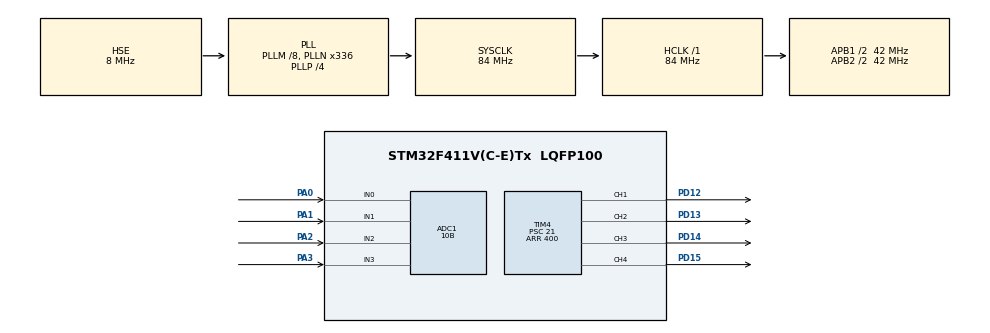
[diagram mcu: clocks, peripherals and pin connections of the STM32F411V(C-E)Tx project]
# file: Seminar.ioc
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Mcu.Family=STM32F4
RCC.PLLSourceVirtual=RCC_PLLSOURCE_HSE
TIM4.Channel-PWM\ Generation1\ CH1=TIM_CHANNEL_1
RCC.CortexFreq_Value=84000000
ADC1.Rank-0\#ChannelRegularConversion=1
ADC1.ContinuousConvMode=ENABLE
SH.S_TIM4_CH4.0=TIM4_CH4,PWM Generation4 CH4
SH.ADCx_IN2.0=ADC1_IN2,IN2
PH1\ -\ OSC_OUT.Mode=HSE-External-Oscillator
RCC.APB1CLKDivider=RCC_HCLK_DIV2
RCC.SYSCLKSource=RCC_SYSCLKSOURCE_PLLCLK
ProjectManager.StackSize=0x400
PA0-WKUP.Signal=ADCx_IN0
PD13.Signal=S_TIM4_CH2
NVIC.ADC_IRQn=true\:0\:0\:false\:false\:true\:true\:true
PH0\ -\ OSC_IN.Mode=HSE-External-Oscillator
PH0\ -\ OSC_IN.Signal=RCC_OSC_IN
ProjectManager.TargetToolchain=STM32CubeIDE
SH.S_TIM4_CH3.0=TIM4_CH3,PWM Generation3 CH3
RCC.HCLKFreq_Value=84000000
SH.ADCx_IN3.0=ADC1_IN3,IN3
ADC1.Resolution=ADC_RESOLUTION_10B
RCC.APB2TimFreq_Value=84000000
TIM4.Prescaler=21
RCC.LSE_VALUE=32768
PA1.Signal=ADCx_IN1
RCC.AHBFreq_Value=84000000
ADC1.Channel-0\#ChannelRegularConversion=ADC_CHANNEL_0
RCC.HSE_VALUE=8000000
TIM4.Channel-PWM\ Generation3\ CH3=TIM_CHANNEL_3
PH1\ -\ OSC_OUT.Signal=RCC_OSC_OUT
ADC1.ScanConvMode=ENABLE
board=custom
RCC.VCOOutputFreq_Value=336000000
TIM4.Channel-PWM\ Generation2\ CH2=TIM_CHANNEL_2
RCC.APB2Freq_Value=42000000
SH.S_TIM4_CH2.0=TIM4_CH2,PWM Generation2 CH2
SH.ADCx_IN0.0=ADC1_IN0,IN0
TIM4.Period=400
Mcu.Name=STM32F411V(C-E)Tx
ADC1.SamplingTime-0\#ChannelRegularConversion=ADC_SAMPLETIME_84CYCLES
PA2.Signal=ADCx_IN2
PD14.Signal=S_TIM4_CH3
RCC.48MHZClocksFreq_Value=84000000
RCC.SYSCLKFreq_VALUE=84000000
Mcu.Package=LQFP100
ADC1.master=1
PD12.Signal=S_TIM4_CH1
ProjectManager.HeapSize=0x200
RCC.HSI_VALUE=16000000
VP_TIM4_VS_ClockSourceINT.Mode=Internal
RCC.PLLP=RCC_PLLP_DIV4
NVIC.PriorityGroup=NVIC_PRIORITYGROUP_4
ADC1.NbrOfConversionFlag=1
RCC.APB2CLKDivider=RCC_HCLK_DIV2
SH.ADCx_IN1.0=ADC1_IN1,IN1
RCC.PLLM=8
RCC.PLLN=336
SH.S_TIM4_CH1.0=TIM4_CH1,PWM Generation1 CH1
RCC.APB1TimFreq_Value=84000000
TIM4.Channel-PWM\ Generation4\ CH4=TIM_CHANNEL_4
RCC.APB1Freq_Value=42000000
PD15.Signal=S_TIM4_CH4
PA3.Signal=ADCx_IN3

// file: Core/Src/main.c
/* USER CODE BEGIN Header */
/**
  ******************************************************************************
  * @file           : main.c
  * @brief          : Main program body
  ******************************************************************************
  * @attention
  *
  * <h2><center>&copy; Copyright (c) 2021 STMicroelectronics.
  * All rights reserved.</center></h2>
  *
  * This software component is licensed by ST under BSD 3-Clause license,
  * the "License"; You may not use this file except in compliance with the
  * License. You may obtain a copy of the License at:
  *                        opensource.org/licenses/BSD-3-Clause
  *
  ******************************************************************************
  */
/* USER CODE END Header */
#include "main.h"

ADC_HandleTypeDef hadc1;

TIM_HandleTypeDef htim4;

void SystemClock_Config(void);
static void MX_GPIO_Init(void);
static void MX_ADC1_Init(void);
static void MX_TIM4_Init(void);
static void ADC_Select_CH0(void);
static void ADC_Select_CH1(void);
static void ADC_Select_CH2(void);
static void ADC_Select_CH3(void);

/* USER CODE BEGIN 0 */
uint16_t duty[4] = {0, 0, 0, 0};
// Khai bao cho bo PID
uint16_t adc_pre[4] = {0, 0, 0, 0};
uint16_t adc_value[4] = {0, 0, 0, 0};
uint16_t adc_out[4] = {0, 0, 0, 0};
uint16_t E[4] = {0, 0, 0, 0};
uint16_t E1[4] = {0, 0, 0, 0};
uint16_t E2[4] = {0, 0, 0, 0};
uint16_t setpoint = 0; // don vi la ADC
double Kp, Ki, Kd;
double alphaG, betaG, gammaG;
double T = 0.0001;

void Read_ADC(){
	ADC_Select_CH0();
	HAL_ADC_Start(&hadc1);
	HAL_ADC_PollForConversion(&hadc1, 1000);
	adc_value[0] = HAL_ADC_GetValue(&hadc1);
	HAL_ADC_Stop(&hadc1);
	HAL_Delay(10);
	ADC_Select_CH1();
	HAL_ADC_Start(&hadc1);
	HAL_ADC_PollForConversion(&hadc1, 1000);
	adc_value[1] = HAL_ADC_GetValue(&hadc1);
	HAL_ADC_Stop(&hadc1);
	HAL_Delay(10);
	ADC_Select_CH2();
	HAL_ADC_Start(&hadc1);
	HAL_ADC_PollForConversion(&hadc1, 1000);
	adc_value[1] = HAL_ADC_GetValue(&hadc1);
	HAL_ADC_Stop(&hadc1);
	HAL_Delay(10);
	ADC_Select_CH3();
	HAL_ADC_Start(&hadc1);
	HAL_ADC_PollForConversion(&hadc1, 1000);
	adc_value[1] = HAL_ADC_GetValue(&hadc1);
	HAL_ADC_Stop(&hadc1);
	HAL_Delay(10);
}

void PID(){
	for(int i = 0; i < 4; i ++){
		E[i] = setpoint - adc_value[i];
		alphaG = 2*T*Kp + Ki*T*T + 2*Kd;
		betaG = T*T*Ki - 4*Kd - 2*T*Kp;
		gammaG = 2*Kd;
		adc_out[i] = (alphaG*E[i] + betaG*E1[i] + gammaG*E2[i] + 2*T*adc_pre[i])/(2*T);
		adc_pre[i] = adc_out[i];
		E2[i] = E1[i];
		E1[i] = E[i];
	}
}

void change(){
	for (int i = 0; i < 4; i ++){
		duty[i] = adc_out[i] / 1024 * 100;
	}
}

void Led(){
	__HAL_TIM_SET_COMPARE(&htim4, TIM_CHANNEL_1, duty[0]);
	__HAL_TIM_SET_COMPARE(&htim4, TIM_CHANNEL_2, duty[1]);
	__HAL_TIM_SET_COMPARE(&htim4, TIM_CHANNEL_3, duty[2]);
	__HAL_TIM_SET_COMPARE(&htim4, TIM_CHANNEL_4, duty[3]);
}
/* USER CODE END 0 */

int main(void)
{

  /* MCU Configuration--------------------------------------------------------*/

  /* Reset of all peripherals, Initializes the Flash interface and the Systick. */
  HAL_Init();

  /* Configure the system clock */
  SystemClock_Config();

  /* Initialize all configured peripherals */
  MX_GPIO_Init();
  MX_ADC1_Init();
  MX_TIM4_Init();
  /* USER CODE BEGIN 2 */
  HAL_TIM_PWM_Start(&htim4, TIM_CHANNEL_1);
  HAL_TIM_PWM_Start(&htim4, TIM_CHANNEL_2);
  HAL_TIM_PWM_Start(&htim4, TIM_CHANNEL_3);
  HAL_TIM_PWM_Start(&htim4, TIM_CHANNEL_4);

  /* USER CODE END 2 */

  /* Infinite loop */
  while (1)
  {
	  Read_ADC();
	  PID();
	  change();
	  Led();
  }
}

void SystemClock_Config(void)
{
  RCC_OscInitTypeDef RCC_OscInitStruct = {0};
  RCC_ClkInitTypeDef RCC_ClkInitStruct = {0};

  /** Configure the main internal regulator output voltage
  */
  __HAL_RCC_PWR_CLK_ENABLE();
  __HAL_PWR_VOLTAGESCALING_CONFIG(PWR_REGULATOR_VOLTAGE_SCALE1);
  /** Initializes the RCC Oscillators according to the specified parameters
  * in the RCC_OscInitTypeDef structure.
  */
  RCC_OscInitStruct.OscillatorType = RCC_OSCILLATORTYPE_HSE;
  RCC_OscInitStruct.HSEState = RCC_HSE_ON;
  RCC_OscInitStruct.PLL.PLLState = RCC_PLL_ON;
  RCC_OscInitStruct.PLL.PLLSource = RCC_PLLSOURCE_HSE;
  RCC_OscInitStruct.PLL.PLLM = 8;
  RCC_OscInitStruct.PLL.PLLN = 336;
  RCC_OscInitStruct.PLL.PLLP = RCC_PLLP_DIV4;
  RCC_OscInitStruct.PLL.PLLQ = 4;
  if (HAL_RCC_OscConfig(&RCC_OscInitStruct) != HAL_OK)
  {
    Error_Handler();
  }
  /** Initializes the CPU, AHB and APB buses clocks
  */
  RCC_ClkInitStruct.ClockType = RCC_CLOCKTYPE_HCLK|RCC_CLOCKTYPE_SYSCLK
                              |RCC_CLOCKTYPE_PCLK1|RCC_CLOCKTYPE_PCLK2;
  RCC_ClkInitStruct.SYSCLKSource = RCC_SYSCLKSOURCE_PLLCLK;
  RCC_ClkInitStruct.AHBCLKDivider = RCC_SYSCLK_DIV1;
  RCC_ClkInitStruct.APB1CLKDivider = RCC_HCLK_DIV2;
  RCC_ClkInitStruct.APB2CLKDivider = RCC_HCLK_DIV2;

  if (HAL_RCC_ClockConfig(&RCC_ClkInitStruct, FLASH_LATENCY_2) != HAL_OK)
  {
    Error_Handler();
  }
}

static void MX_ADC1_Init(void)
{

  /** Configure the global features of the ADC (Clock, Resolution, Data Alignment and number of conversion)
  */
  hadc1.Instance = ADC1;
  hadc1.Init.ClockPrescaler = ADC_CLOCK_SYNC_PCLK_DIV2;
  hadc1.Init.Resolution = ADC_RESOLUTION_10B;
  hadc1.Init.ScanConvMode = ENABLE;
  hadc1.Init.ContinuousConvMode = ENABLE;
  hadc1.Init.DiscontinuousConvMode = DISABLE;
  hadc1.Init.ExternalTrigConvEdge = ADC_EXTERNALTRIGCONVEDGE_NONE;
  hadc1.Init.ExternalTrigConv = ADC_SOFTWARE_START;
  hadc1.Init.DataAlign = ADC_DATAALIGN_RIGHT;
  hadc1.Init.NbrOfConversion = 1;
  hadc1.Init.DMAContinuousRequests = DISABLE;
  hadc1.Init.EOCSelection = ADC_EOC_SINGLE_CONV;
  if (HAL_ADC_Init(&hadc1) != HAL_OK)
  	  {
  	    Error_Handler();
  	  }
}

void ADC_Select_CH0(void){
	  ADC_ChannelConfTypeDef sConfig = {0};
	  sConfig.Channel = ADC_CHANNEL_0;
	  sConfig.Rank = 1;
	  sConfig.SamplingTime = ADC_SAMPLETIME_84CYCLES;
	  if (HAL_ADC_ConfigChannel(&hadc1, &sConfig) != HAL_OK)
	  {
	    Error_Handler();
	  }
}

void ADC_Select_CH1(void){
	  ADC_ChannelConfTypeDef sConfig = {0};
	  sConfig.Channel = ADC_CHANNEL_1;
	  sConfig.Rank = 1;
	  sConfig.SamplingTime = ADC_SAMPLETIME_84CYCLES;
	  if (HAL_ADC_ConfigChannel(&hadc1, &sConfig) != HAL_OK)
	  {
	    Error_Handler();
	  }
}

void ADC_Select_CH2(void){
	  ADC_ChannelConfTypeDef sConfig = {0};
	  sConfig.Channel = ADC_CHANNEL_2;
	  sConfig.Rank = 1;
	  sConfig.SamplingTime = ADC_SAMPLETIME_84CYCLES;
	  if (HAL_ADC_ConfigChannel(&hadc1, &sConfig) != HAL_OK)
	  {
	    Error_Handler();
	  }
}

void ADC_Select_CH3(void){
	  ADC_ChannelConfTypeDef sConfig = {0};
	  sConfig.Channel = ADC_CHANNEL_3;
	  sConfig.Rank = 1;
	  sConfig.SamplingTime = ADC_SAMPLETIME_84CYCLES;
	  if (HAL_ADC_ConfigChannel(&hadc1, &sConfig) != HAL_OK)
	  {
	    Error_Handler();
	  }
}
static void MX_TIM4_Init(void)
{

  TIM_ClockConfigTypeDef sClockSourceConfig = {0};
  TIM_MasterConfigTypeDef sMasterConfig = {0};
  TIM_OC_InitTypeDef sConfigOC = {0};

  htim4.Instance = TIM4;
  htim4.Init.Prescaler = 21;
  htim4.Init.CounterMode = TIM_COUNTERMODE_UP;
  htim4.Init.Period = 400;
  htim4.Init.ClockDivision = TIM_CLOCKDIVISION_DIV1;
  htim4.Init.AutoReloadPreload = TIM_AUTORELOAD_PRELOAD_DISABLE;
  if (HAL_TIM_Base_Init(&htim4) != HAL_OK)
  {
    Error_Handler();
  }
  sClockSourceConfig.ClockSource = TIM_CLOCKSOURCE_INTERNAL;
  if (HAL_TIM_ConfigClockSource(&htim4, &sClockSourceConfig) != HAL_OK)
  {
    Error_Handler();
  }
  if (HAL_TIM_PWM_Init(&htim4) != HAL_OK)
  {
    Error_Handler();
  }
  sMasterConfig.MasterOutputTrigger = TIM_TRGO_RESET;
  sMasterConfig.MasterSlaveMode = TIM_MASTERSLAVEMODE_DISABLE;
  if (HAL_TIMEx_MasterConfigSynchronization(&htim4, &sMasterConfig) != HAL_OK)
  {
    Error_Handler();
  }
  sConfigOC.OCMode = TIM_OCMODE_PWM1;
  sConfigOC.Pulse = 0;
  sConfigOC.OCPolarity = TIM_OCPOLARITY_HIGH;
  sConfigOC.OCFastMode = TIM_OCFAST_DISABLE;
  if (HAL_TIM_PWM_ConfigChannel(&htim4, &sConfigOC, TIM_CHANNEL_1) != HAL_OK)
  {
    Error_Handler();
  }
  if (HAL_TIM_PWM_ConfigChannel(&htim4, &sConfigOC, TIM_CHANNEL_2) != HAL_OK)
  {
    Error_Handler();
  }
  if (HAL_TIM_PWM_ConfigChannel(&htim4, &sConfigOC, TIM_CHANNEL_3) != HAL_OK)
  {
    Error_Handler();
  }
  if (HAL_TIM_PWM_ConfigChannel(&htim4, &sConfigOC, TIM_CHANNEL_4) != HAL_OK)
  {
    Error_Handler();
  }
  HAL_TIM_MspPostInit(&htim4);

}

static void MX_GPIO_Init(void)
{

  /* GPIO Ports Clock Enable */
  __HAL_RCC_GPIOH_CLK_ENABLE();
  __HAL_RCC_GPIOA_CLK_ENABLE();
  __HAL_RCC_GPIOD_CLK_ENABLE();

}

void Error_Handler(void)
{
  __disable_irq();
  while (1)
  {
  }
}

/************************ (C) COPYRIGHT STMicroelectronics *****END OF FILE****/
